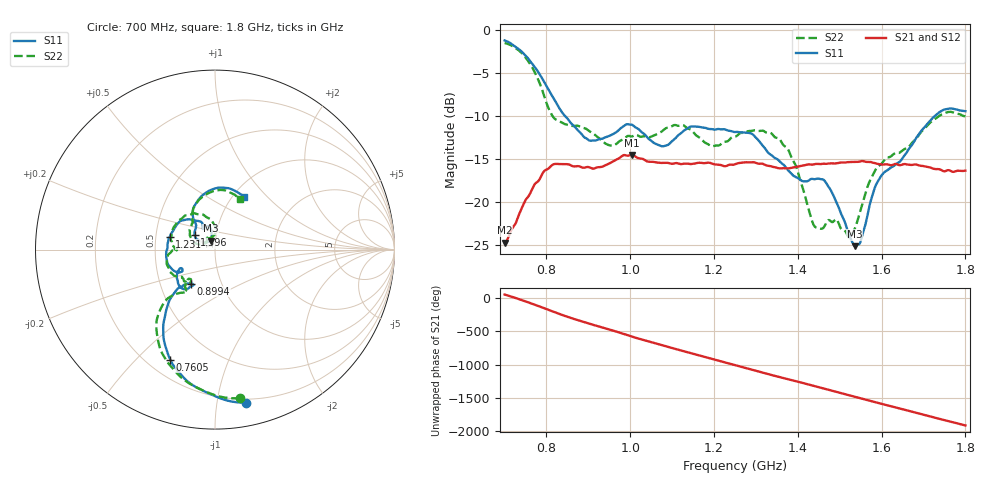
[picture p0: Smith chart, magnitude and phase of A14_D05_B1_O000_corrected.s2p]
! Created with skrf 1.9.0 (http://scikit-rf.org).
# Hz S RI R 50.0
!freq ReS11 ImS11 ReS21 ImS21 ReS12 ImS12 ReS22 ImS22
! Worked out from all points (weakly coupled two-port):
!   1601 points, 700 MHz to 1.8 GHz, reference 50 ohm
!   highest |S21| = -14.49 dB at 1.005 GHz (marker M1); lowest = -24.7 dB at 700 MHz (marker M2)
!   lowest |S11| = -25.1 dB at 1.536 GHz (marker M3), VSWR 1.12, Z = 47.4 + j4.77 ohm
!   |S11| at or under -10 dB: 844.7 MHz to 1.726 GHz (881.7 MHz wide, 68.6 % of centre)
!   |S22| runs from -24.1 to -1.5 dB; largest |S21 - S12| = 0.0036
!   S11 on the Smith chart (normalised r, x): 700 MHz: 0.17, -1.20; 760.5 MHz: 0.29, -0.63; 899.4 MHz: 0.72, -0.29; 1.231 GHz: 0.59, +0.09; 1.596 GHz: 0.79, +0.13; 1.8 GHz: 1.13, +0.75
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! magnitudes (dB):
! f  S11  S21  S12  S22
! 700 MHz  -1.2  -24.7  -24.5  -1.5
! 760.5 MHz  -3.6  -19.0  -18.9  -3.9
! 816.9 MHz  -7.9  -15.6  -15.7  -10.2
! 883.6 MHz  -12.1  -15.9  -15.8  -11.3
! 899.4 MHz  -12.7  -15.9  -15.9  -11.6
! 953.7 MHz  -12.2  -15.4  -15.4  -13.4
! 1.005 GHz  -11.0  -14.5  -14.6  -12.3
! 1.067 GHz  -13.3  -15.4  -15.4  -12.0
! 1.145 GHz  -11.2  -15.6  -15.6  -11.6
! 1.231 GHz  -11.6  -15.8  -15.7  -12.9
! 1.25 GHz  -11.8  -15.6  -15.5  -12.4
! 1.357 GHz  -15.3  -16.1  -16.0  -12.7
! 1.395 GHz  -17.1  -15.9  -15.9  -15.7
! 1.434 GHz  -17.3  -15.6  -15.6  -22.1
! 1.472 GHz  -18.1  -15.5  -15.5  -22.1
! 1.523 GHz  -23.9  -15.3  -15.3  -24.1
! 1.536 GHz  -25.1  -15.3  -15.3  -23.1
! 1.55 GHz  -24.4  -15.2  -15.3  -20.8
! 1.596 GHz  -17.2  -15.6  -15.6  -15.7
! 1.617 GHz  -16.2  -15.6  -15.6  -14.8
! 1.734 GHz  -9.7  -16.1  -16.2  -10.1
! 1.8 GHz  -9.4  -16.3  -16.3  -10.0
